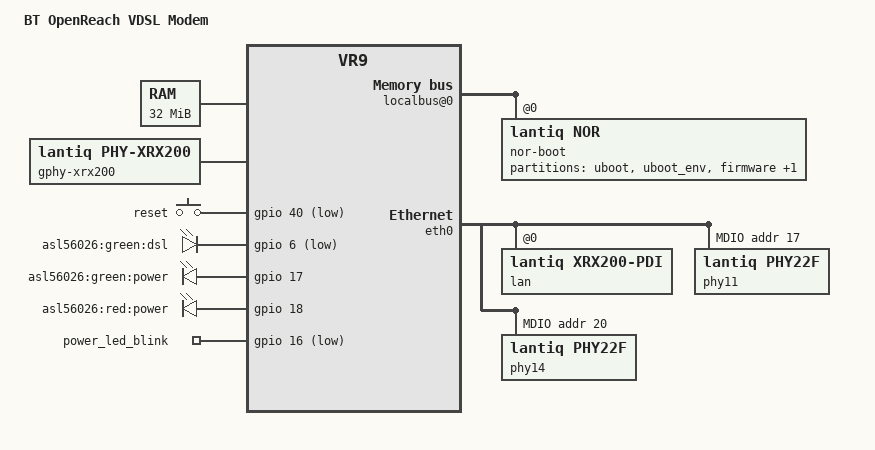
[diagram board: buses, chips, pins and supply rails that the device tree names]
/dts-v1/;

#include "vr9.dtsi"

#include <dt-bindings/input/input.h>

/ {
	compatible = "alphanetworks,asl56026", "lantiq,xway", "lantiq,vr9";
	model = "BT OpenReach VDSL Modem";

	chosen {
		bootargs = "console=ttyLTQ0,115200";
	};

	aliases {
		led-boot = &power_green;
		led-failsafe = &power_red;
		led-running = &power_green;

		led-dsl = &dsl;
	};

	memory@0 {
		reg = <0x0 0x2000000>;
	};

	fpi@10000000 {
		localbus@0 {
			nor-boot@0 {
				compatible = "lantiq,nor";
				bank-width = <2>;
				reg = <0 0x0 0x0800000>;
				#address-cells = <1>;
				#size-cells = <1>;

				partitions {
					compatible = "fixed-partitions";
					#address-cells = <1>;
					#size-cells = <1>;

					partition@0 {
						label = "uboot";
						reg = <0x0 0x30000>;
					};

					partition@30000 {
						label = "uboot_env";
						reg = <0x30000 0x10000>;
					};

					partition@40000 {
						label = "firmware";
						reg = <0x40000 0x750000>;
					};

					partition@790000 {
						label = "ddrconfig";
						reg = <0x790000 0x70000>;
						read-only;
					};
				};
			};
		};

		gpio: pinmux@E100B10 {
			pinctrl-names = "default";
			pinctrl-0 = <&state_default>;

			state_default: pinmux {
				mdio {
					lantiq,groups = "mdio";
					lantiq,function = "mdio";
				};
			};
		};
	};

	gphy-xrx200 {
		compatible = "lantiq,phy-xrx200";
		firmware1 = "lantiq/xrx200_phy22f_a14.bin";	/*VR9 1.1*/
		firmware2 = "lantiq/xrx200_phy22f_a22.bin";	/*VR9 1.2*/
		phys = [ 00 01 ];
	};

	gpio-keys-polled {
		compatible = "gpio-keys-polled";
		#address-cells = <1>;
		#size-cells = <0>;
		poll-interval = <100>;

		reset {
			label = "reset";
			gpios = <&gpio 40 GPIO_ACTIVE_LOW>;
			linux,code = <KEY_RESTART>;
		};
	};

	gpio-leds {
		compatible = "gpio-leds";

		dsl: dsl {
			label = "asl56026:green:dsl";
			gpios = <&gpio 6 GPIO_ACTIVE_LOW>;
		};

		/* power-* is a bicolour led */
		power_green: power_green {
			label = "asl56026:green:power";
			gpios = <&gpio 17 GPIO_ACTIVE_HIGH>;
			default-state = "keep";
		};

		power_red: power_red {
			label = "asl56026:red:power";
			gpios = <&gpio 18 GPIO_ACTIVE_HIGH>;
		};
	};

	gpio_export {
		compatible = "gpio-export";
		#size-cells = <0>;

		power_led_blink {
			gpio-export,name = "power_led_blink";
			gpio-export,output = <0>;
			gpios = <&gpio 16 GPIO_ACTIVE_LOW>;
		};
	};
};

&eth0 {
	lan: interface@0 {
		compatible = "lantiq,xrx200-pdi";
		#address-cells = <1>;
		#size-cells = <0>;
		reg = <0>;
		lantiq,switch;

		ethernet@2 {
			compatible = "lantiq,xrx200-pdi-port";
			reg = <2>;
			phy-mode = "mii";
			phy-handle = <&phy11>;
		};

		ethernet@3 {
			compatible = "lantiq,xrx200-pdi-port";
			reg = <3>;
			phy-mode = "mii";
			phy-handle = <&phy14>;
		};

	};

	mdio@0 {
		#address-cells = <1>;
		#size-cells = <0>;
		compatible = "lantiq,xrx200-mdio";

		phy11: ethernet-phy@11 {
			reg = <0x11>;
			compatible = "lantiq,phy22f", "ethernet-phy-ieee802.3-c22";
		};

		phy14: ethernet-phy@14 {
			reg = <0x14>;
			compatible = "lantiq,phy22f", "ethernet-phy-ieee802.3-c22";
		};

	};
};
